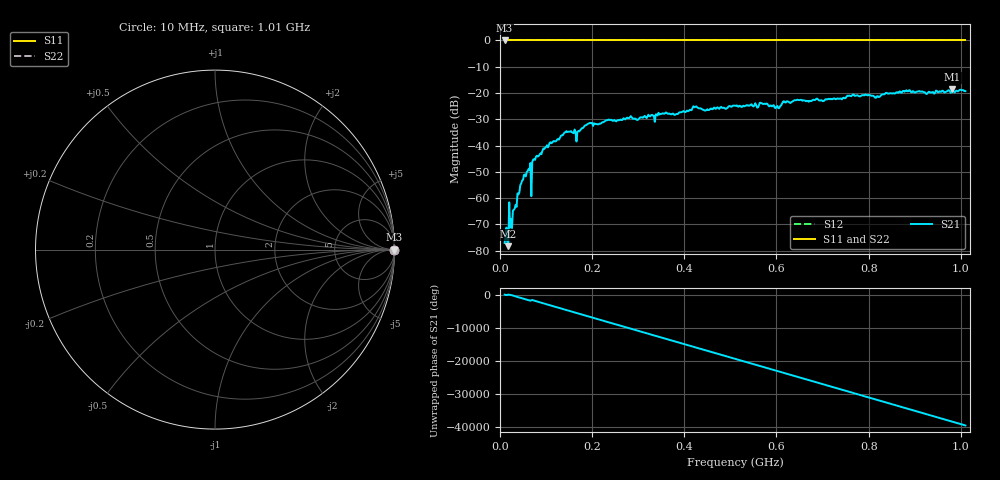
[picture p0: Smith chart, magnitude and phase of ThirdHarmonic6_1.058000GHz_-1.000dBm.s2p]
! 8/16/2025 9:26:41 AM
! C:\ANRITSUVNA\TEMP\TEMP.S2P
! CHANNEL.1
! TR.MEASUREMENT
! RAW.DATA
! RF.CORRECTION.OFF
! AVERAGING.OFF
! IF.BANDWIDTH: 5KHZ
! SWEEPTYPE:  FREQ.SWEEP(Linear)
! Reference Plane Port Info
! PORT:  PORT1  PORT2
! DISTANCE:  0  m  0  m
! TIME:  0  s  0  s
! PHASE.OFFSET:  0  deg.  0  deg.
! LOSS:  0  dB  0  dB
! REF.LOSS:  0  dB  0  dB
! REF.FREQ:  0  Hz  0  Hz
! Power Info
! POWER:  -20  dBm  -20  dBm
! EFF.POWER:  -20  dBm  -20  dBm
! SOURCE.ATTEN:  0  dB  0  dB
! TEST.ATTEN:  0  dB  0  dB
# GHZ S RI R 50.0
! FREQ.GHZ  S11RE  S11IM  S21RE  S21IM  S12RE  S12IM  S22RE  S22IM
!; PortSelection: Port_12
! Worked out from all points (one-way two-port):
!   501 points, 10 MHz to 1.01 GHz, reference 50 ohm
!   highest |S21| = -18.64 dB at 982 MHz (marker M1); lowest = -78.3 dB at 18 MHz (marker M2)
!   lowest |S11| = 0.0 dB at 10 MHz (marker M3)
!   |S11| at or under -10 dB: nowhere
!   |S22| runs from 0.0 to 0.0 dB; largest |S21 - S12| = 1.1
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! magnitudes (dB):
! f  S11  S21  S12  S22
! 10 MHz  0.0  -77.1  0.0  0.0
! 14 MHz  0.0  -71.3  0.0  0.0
! 18 MHz  0.0  -78.3  0.0  0.0
! 48 MHz  0.0  -53.4  0.0  0.0
! 62 MHz  0.0  -49.0  0.0  0.0
! 64 MHz  0.0  -49.4  0.0  0.0
! 72 MHz  0.0  -45.3  0.0  0.0
! 74 MHz  0.0  -45.3  0.0  0.0
! 142 MHz  0.0  -34.9  0.0  0.0
! 168 MHz  0.0  -34.8  0.0  0.0
! 178 MHz  0.0  -33.4  0.0  0.0
! 196 MHz  0.0  -31.4  0.0  0.0
! 344 MHz  0.0  -27.5  0.0  0.0
! 422 MHz  0.0  -25.4  0.0  0.0
! 510 MHz  0.0  -24.9  0.0  0.0
! 568 MHz  0.0  -23.9  0.0  0.0
! 602 MHz  0.0  -24.9  0.0  0.0
! 618 MHz  0.0  -23.5  0.0  0.0
! 678 MHz  0.0  -22.8  0.0  0.0
! 844 MHz  0.0  -20.2  0.0  0.0
! 982 MHz  0.0  -18.6  0.0  0.0
! 1.01 GHz  0.0  -19.3  0.0  0.0
